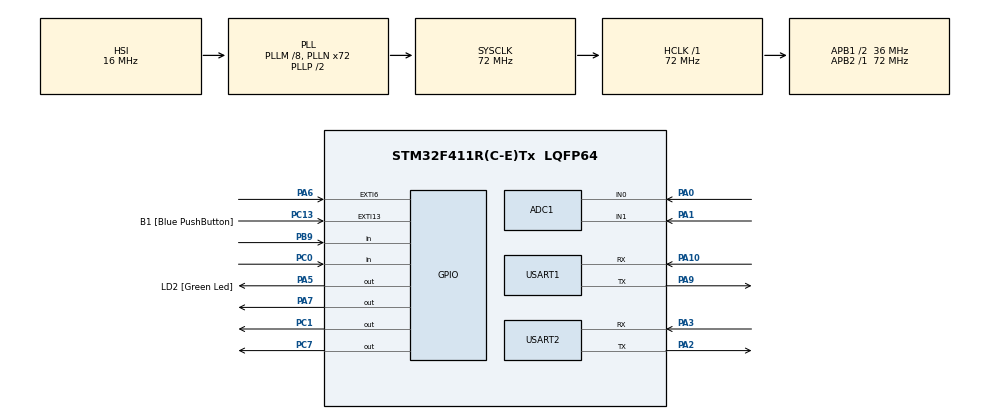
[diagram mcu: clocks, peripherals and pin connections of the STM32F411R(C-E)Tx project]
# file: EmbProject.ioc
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ADC1.Channel-3\#ChannelRegularConversion=ADC_CHANNEL_0
ADC1.Channel-4\#ChannelRegularConversion=ADC_CHANNEL_1
ADC1.ClockPrescaler=ADC_CLOCK_SYNC_PCLK_DIV4
ADC1.ContinuousConvMode=ENABLE
ADC1.DMAContinuousRequests=DISABLE
ADC1.NbrOfConversion=2
ADC1.NbrOfConversionFlag=1
ADC1.Rank-3\#ChannelRegularConversion=1
ADC1.Rank-4\#ChannelRegularConversion=2
ADC1.SamplingTime-3\#ChannelRegularConversion=ADC_SAMPLETIME_3CYCLES
ADC1.SamplingTime-4\#ChannelRegularConversion=ADC_SAMPLETIME_3CYCLES
ADC1.master=1
Mcu.Family=STM32F4
Mcu.Name=STM32F411R(C-E)Tx
Mcu.Package=LQFP64
NVIC.PriorityGroup=NVIC_PRIORITYGROUP_0
NVIC.TIM1_CC_IRQn=true\:0\:0\:false\:false\:true\:true\:true\:true
NVIC.USART1_IRQn=true\:0\:0\:false\:false\:true\:true\:true\:true
PA0-WKUP.Signal=ADCx_IN0
PA1.Signal=ADCx_IN1
PA10.Mode=Asynchronous
PA10.Signal=USART1_RX
PA13.GPIO_Label=TMS
PA13.Mode=Serial_Wire
PA13.Signal=SYS_JTMS-SWDIO
PA14.GPIO_Label=TCK
PA14.Mode=Serial_Wire
PA14.Signal=SYS_JTCK-SWCLK
PA2.Mode=Asynchronous
PA2.Signal=USART2_TX
PA3.Mode=Asynchronous
PA3.Signal=USART2_RX
PA5.GPIO_Label=LD2 [Green Led]
PA5.Signal=GPIO_Output
PA6.Signal=GPXTI6
PA7.Signal=GPIO_Output
PA9.Mode=Asynchronous
PA9.Signal=USART1_TX
PB3.GPIO_Label=SWO
PB3.Signal=SYS_JTDO-SWO
PB9.Signal=GPIO_Input
PC0.Signal=GPIO_Input
PC1.Signal=GPIO_Output
PC13-ANTI_TAMP.GPIO_Label=B1 [Blue PushButton]
PC13-ANTI_TAMP.GPIO_ModeDefaultEXTI=GPIO_MODE_IT_FALLING
PC13-ANTI_TAMP.Signal=GPXTI13
PC14-OSC32_IN.Mode=LSE-External-Oscillator
PC14-OSC32_IN.Signal=RCC_OSC32_IN
PC15-OSC32_OUT.Mode=LSE-External-Oscillator
PC15-OSC32_OUT.Signal=RCC_OSC32_OUT
PC7.Signal=GPIO_Output
PH0\ -\ OSC_IN.Mode=HSE-External-Oscillator
PH0\ -\ OSC_IN.Signal=RCC_OSC_IN
PH1\ -\ OSC_OUT.Mode=HSE-External-Oscillator
PH1\ -\ OSC_OUT.Signal=RCC_OSC_OUT
ProjectManager.HeapSize=0x200
ProjectManager.StackSize=0x400
ProjectManager.TargetToolchain=STM32CubeIDE
RCC.48MHZClocksFreq_Value=36000000
RCC.AHBFreq_Value=72000000
RCC.APB1CLKDivider=RCC_HCLK_DIV2
RCC.APB1Freq_Value=36000000
RCC.APB1TimFreq_Value=72000000
RCC.APB2Freq_Value=72000000
RCC.APB2TimFreq_Value=72000000
RCC.CortexFreq_Value=72000000
RCC.FLatency-AdvancedSettings=FLASH_LATENCY_2
RCC.HCLKFreq_Value=72000000
RCC.HSE_VALUE=8000000
RCC.HSI_VALUE=16000000
RCC.PLLM=8
RCC.PLLN=72
RCC.SYSCLKFreq_VALUE=72000000
RCC.SYSCLKSource=RCC_SYSCLKSOURCE_PLLCLK
RCC.VCOOutputFreq_Value=144000000
SH.ADCx_IN0.0=ADC1_IN0,IN0
SH.ADCx_IN1.0=ADC1_IN1,IN1
TIM1.Period=65535
TIM1.Prescaler=71
USART1.VirtualMode=VM_ASYNC
USART2.VirtualMode=VM_ASYNC
VP_TIM1_VS_ClockSourceINT.Mode=Internal
board=NUCLEO-F411RE

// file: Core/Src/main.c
/* USER CODE BEGIN Header */
/**
  ******************************************************************************
  * @file           : main.c
  * @brief          : Main program body
  ******************************************************************************
  * @attention
  *
  * Copyright (c) 2024 STMicroelectronics.
  * All rights reserved.
  *
  * This software is licensed under terms that can be found in the LICENSE file
  * in the root directory of this software component.
  * If no LICENSE file comes with this software, it is provided AS-IS.
  *
  ******************************************************************************
  */
/* USER CODE END Header */
#include "main.h"

ADC_HandleTypeDef hadc1;

TIM_HandleTypeDef htim1;

UART_HandleTypeDef huart1;
UART_HandleTypeDef huart2;

/* USER CODE BEGIN PV */
int HEARTBEAT = 50;

uint16_t ADC_VAL[2];

// HC-SRO4
#define TRIG_PIN GPIO_PIN_1
#define TRIG_PORT GPIOC
#define ECHO_PIN GPIO_PIN_0
#define ECHO_PORT GPIOC
uint32_t pMillis;
uint32_t Value1 = 0;
uint32_t Value2 = 0;
uint16_t Distance  = 0;  // cm
int DISTANCE_THRESHOLD = 100; // cm

// Sound Sensor
int SOUND_THRESHOLD = 2110;
int COOLDOWN = 5; // 5 sec
int curr_cooldown = 0;

// LDR
int LDR_THRESHOLD = 125;

// UART
char buffer[50];
int Status = 0;

/* USER CODE END PV */

void SystemClock_Config(void);
static void MX_GPIO_Init(void);
static void MX_ADC1_Init(void);
static void MX_USART2_UART_Init(void);
static void MX_TIM1_Init(void);
static void MX_USART1_UART_Init(void);

/* USER CODE BEGIN 0 */

int Read_Distance(){
	HAL_GPIO_WritePin(TRIG_PORT, TRIG_PIN, GPIO_PIN_SET);  // pull the TRIG pin HIGH
	 __HAL_TIM_SET_COUNTER(&htim1, 0);
	 while (__HAL_TIM_GET_COUNTER (&htim1) < 10);  // wait for 10 us
	 HAL_GPIO_WritePin(TRIG_PORT, TRIG_PIN, GPIO_PIN_RESET);  // pull the TRIG pin low

	 pMillis = HAL_GetTick(); // used this to avoid infinite while loop  (for timeout)
	 // wait for the echo pin to go high
	 while (!(HAL_GPIO_ReadPin (ECHO_PORT, ECHO_PIN)) && pMillis + 10 >  HAL_GetTick());
	 Value1 = __HAL_TIM_GET_COUNTER (&htim1);

	 pMillis = HAL_GetTick(); // used this to avoid infinite while loop (for timeout)
	 // wait for the echo pin to go low
	 while ((HAL_GPIO_ReadPin (ECHO_PORT, ECHO_PIN)) && pMillis + 50 > HAL_GetTick());
	 Value2 = __HAL_TIM_GET_COUNTER (&htim1);

	 Distance = (int)(((float)(Value2-Value1)) * 0.034 / 2);
	 return Distance;
//	 sprintf(buffer, "%d\r\n", Distance);
//	 HAL_UART_Transmit(&huart2, buffer, strlen(buffer), HAL_MAX_DELAY);
}

void ADC_Select_CH0 (void)
{
	ADC_ChannelConfTypeDef sConfig = {0};
	  /** Configure for the selected ADC regular channel its corresponding rank in the sequencer and its sample time.
	  */
	  sConfig.Channel = ADC_CHANNEL_0;
	  sConfig.Rank = 1;
	  sConfig.SamplingTime = ADC_SAMPLETIME_28CYCLES;
	  if (HAL_ADC_ConfigChannel(&hadc1, &sConfig) != HAL_OK)
	  {
	    Error_Handler();
	  }
}

void ADC_Select_CH1 (void)
{
	ADC_ChannelConfTypeDef sConfig = {0};
	  /** Configure for the selected ADC regular channel its corresponding rank in the sequencer and its sample time.
	  */
	  sConfig.Channel = ADC_CHANNEL_1;
	  sConfig.Rank = 1;
	  sConfig.SamplingTime = ADC_SAMPLETIME_84CYCLES;
	  if (HAL_ADC_ConfigChannel(&hadc1, &sConfig) != HAL_OK)
	  {
	    Error_Handler();
	  }
}

/* USER CODE END 0 */

int main(void)
{

  /* MCU Configuration--------------------------------------------------------*/

  /* Reset of all peripherals, Initializes the Flash interface and the Systick. */
  HAL_Init();

  /* Configure the system clock */
  SystemClock_Config();

  /* Initialize all configured peripherals */
  MX_GPIO_Init();
  MX_ADC1_Init();
  MX_USART2_UART_Init();
  MX_TIM1_Init();
  MX_USART1_UART_Init();
  /* USER CODE BEGIN 2 */

  // For HC-SRO4
  HAL_TIM_Base_Start(&htim1);
  HAL_GPIO_WritePin(TRIG_PORT, TRIG_PIN, GPIO_PIN_RESET);  // pull the TRIG pin low

  /* USER CODE END 2 */

  /* Infinite loop */
  while (1)
  {

    /* USER CODE BEGIN 3 */

	  // LED Logic
	 HAL_GPIO_TogglePin(GPIOA, GPIO_PIN_5); // Debug

	 if (HAL_UART_Receive(&huart1, buffer, strlen(buffer), 1000) == HAL_OK) {
		 //HAL_UART_Transmit(&huart2, buffer, strlen(buffer), HAL_MAX_DELAY);
	 }

	 if(buffer[0] == '0'){
		 HAL_GPIO_WritePin(GPIOC, GPIO_PIN_7, GPIO_PIN_RESET);
		 Status = 0;
	 }else if(buffer[0] == '1'){
		 HAL_GPIO_WritePin(GPIOC, GPIO_PIN_7, GPIO_PIN_SET);
		 Status = 1;
	 }else if(buffer[0] == '2'){
		 if(curr_cooldown <= 0){
			 HAL_GPIO_WritePin(GPIOC, GPIO_PIN_7, GPIO_PIN_RESET);
			 Status = 0;
		 }else{
			 //Debug
			 if(curr_cooldown % 1000 == 0){
				 sprintf(buffer, "Close LED in %d\r\n", curr_cooldown / 1000);
				 HAL_UART_Transmit(&huart2, buffer, strlen(buffer), HAL_MAX_DELAY);
			 }

			 curr_cooldown = (curr_cooldown - HEARTBEAT) <= 0 ? 0 : curr_cooldown - HEARTBEAT;
			 HAL_GPIO_WritePin(GPIOC, GPIO_PIN_7, GPIO_PIN_SET);
			 Status = 1;
		 }
	 }

	 // READ LDR
	 ADC_Select_CH0();
	  HAL_ADC_Start(&hadc1);
	  HAL_ADC_PollForConversion(&hadc1, 1000);
	  ADC_VAL[0] = HAL_ADC_GetValue(&hadc1);
	  HAL_ADC_Stop(&hadc1);

	  // READ SOUND
	  ADC_Select_CH1();
	  HAL_ADC_Start(&hadc1);
	  HAL_ADC_PollForConversion(&hadc1, 1000);
	  ADC_VAL[1] = HAL_ADC_GetValue(&hadc1);
	  HAL_ADC_Stop(&hadc1);

//	 sprintf(buffer, "%d %d\r\n", ADC_VAL[0], ADC_VAL[1]);
//	 HAL_UART_Transmit(&huart2, buffer, strlen(buffer), HAL_MAX_DELAY);

	  int adc_ldr = ADC_VAL[0];
	  int adc_sound = ADC_VAL[1];
	  int distance = Read_Distance();

	 // LDR logic
	 if(adc_ldr <= LDR_THRESHOLD){
		 // Sound Sensor logic
		 if(adc_sound >= SOUND_THRESHOLD){
			 sprintf(buffer, "Sound Trigger ADC Value: %lu\r\n", adc_sound); // debug
			 HAL_UART_Transmit(&huart2, buffer, strlen(buffer), HAL_MAX_DELAY);

			 curr_cooldown = COOLDOWN * 1000; // set cooldown
		 }

		 //HC-SRO4 logic
		 if(distance <= DISTANCE_THRESHOLD){
			 // Debugging
			 if(curr_cooldown == 0){
				sprintf(buffer, "Distance Trigger Value: %d\r\n", distance); // debug
				HAL_UART_Transmit(&huart2, buffer, strlen(buffer), HAL_MAX_DELAY);
			 }

			 curr_cooldown = COOLDOWN * 1000; // set cooldown
		 }

//		 // Debugging
//		 if(curr_cooldown == 0){
//			sprintf(buffer, "LDR Trigger ADC Value: %lu\r\n", adc_ldr); // debug
//			HAL_UART_Transmit(&huart2, buffer, strlen(buffer), HAL_MAX_DELAY);
//		 }
//
//	 	 curr_cooldown = COOLDOWN * 1000; // set cooldown
	 }

	 sprintf(buffer, "%d,%d,%d,%d\r\n", adc_ldr, adc_sound, distance, Status);
	 //HAL_UART_Transmit(&huart2, buffer, strlen(buffer), 1000);
	 HAL_UART_Transmit(&huart1, buffer, strlen(buffer), 1000);

	 HAL_Delay(HEARTBEAT);
  }
  /* USER CODE END 3 */
}

void SystemClock_Config(void)
{
  RCC_OscInitTypeDef RCC_OscInitStruct = {0};
  RCC_ClkInitTypeDef RCC_ClkInitStruct = {0};

  /** Configure the main internal regulator output voltage
  */
  __HAL_RCC_PWR_CLK_ENABLE();
  __HAL_PWR_VOLTAGESCALING_CONFIG(PWR_REGULATOR_VOLTAGE_SCALE1);

  /** Initializes the RCC Oscillators according to the specified parameters
  * in the RCC_OscInitTypeDef structure.
  */
  RCC_OscInitStruct.OscillatorType = RCC_OSCILLATORTYPE_HSI;
  RCC_OscInitStruct.HSIState = RCC_HSI_ON;
  RCC_OscInitStruct.HSICalibrationValue = RCC_HSICALIBRATION_DEFAULT;
  RCC_OscInitStruct.PLL.PLLState = RCC_PLL_ON;
  RCC_OscInitStruct.PLL.PLLSource = RCC_PLLSOURCE_HSI;
  RCC_OscInitStruct.PLL.PLLM = 8;
  RCC_OscInitStruct.PLL.PLLN = 72;
  RCC_OscInitStruct.PLL.PLLP = RCC_PLLP_DIV2;
  RCC_OscInitStruct.PLL.PLLQ = 4;
  if (HAL_RCC_OscConfig(&RCC_OscInitStruct) != HAL_OK)
  {
    Error_Handler();
  }

  /** Initializes the CPU, AHB and APB buses clocks
  */
  RCC_ClkInitStruct.ClockType = RCC_CLOCKTYPE_HCLK|RCC_CLOCKTYPE_SYSCLK
                              |RCC_CLOCKTYPE_PCLK1|RCC_CLOCKTYPE_PCLK2;
  RCC_ClkInitStruct.SYSCLKSource = RCC_SYSCLKSOURCE_PLLCLK;
  RCC_ClkInitStruct.AHBCLKDivider = RCC_SYSCLK_DIV1;
  RCC_ClkInitStruct.APB1CLKDivider = RCC_HCLK_DIV2;
  RCC_ClkInitStruct.APB2CLKDivider = RCC_HCLK_DIV1;

  if (HAL_RCC_ClockConfig(&RCC_ClkInitStruct, FLASH_LATENCY_2) != HAL_OK)
  {
    Error_Handler();
  }
}

static void MX_ADC1_Init(void)
{

  ADC_ChannelConfTypeDef sConfig = {0};

  /** Configure the global features of the ADC (Clock, Resolution, Data Alignment and number of conversion)
  */
  hadc1.Instance = ADC1;
  hadc1.Init.ClockPrescaler = ADC_CLOCK_SYNC_PCLK_DIV4;
  hadc1.Init.Resolution = ADC_RESOLUTION_12B;
  hadc1.Init.ScanConvMode = ENABLE;
  hadc1.Init.ContinuousConvMode = ENABLE;
  hadc1.Init.DiscontinuousConvMode = DISABLE;
  hadc1.Init.ExternalTrigConvEdge = ADC_EXTERNALTRIGCONVEDGE_NONE;
  hadc1.Init.ExternalTrigConv = ADC_SOFTWARE_START;
  hadc1.Init.DataAlign = ADC_DATAALIGN_RIGHT;
  hadc1.Init.NbrOfConversion = 2;
  hadc1.Init.DMAContinuousRequests = DISABLE;
  hadc1.Init.EOCSelection = ADC_EOC_SINGLE_CONV;
  if (HAL_ADC_Init(&hadc1) != HAL_OK)
  {
    Error_Handler();
  }

  /** Configure for the selected ADC regular channel its corresponding rank in the sequencer and its sample time.
  */
  sConfig.Channel = ADC_CHANNEL_0;
  sConfig.Rank = 1;
  sConfig.SamplingTime = ADC_SAMPLETIME_3CYCLES;
  if (HAL_ADC_ConfigChannel(&hadc1, &sConfig) != HAL_OK)
  {
    Error_Handler();
  }

  /** Configure for the selected ADC regular channel its corresponding rank in the sequencer and its sample time.
  */
  sConfig.Channel = ADC_CHANNEL_1;
  sConfig.Rank = 2;
  if (HAL_ADC_ConfigChannel(&hadc1, &sConfig) != HAL_OK)
  {
    Error_Handler();
  }

}

static void MX_TIM1_Init(void)
{

  TIM_ClockConfigTypeDef sClockSourceConfig = {0};
  TIM_MasterConfigTypeDef sMasterConfig = {0};

  htim1.Instance = TIM1;
  htim1.Init.Prescaler = 71;
  htim1.Init.CounterMode = TIM_COUNTERMODE_UP;
  htim1.Init.Period = 65535;
  htim1.Init.ClockDivision = TIM_CLOCKDIVISION_DIV1;
  htim1.Init.RepetitionCounter = 0;
  htim1.Init.AutoReloadPreload = TIM_AUTORELOAD_PRELOAD_DISABLE;
  if (HAL_TIM_Base_Init(&htim1) != HAL_OK)
  {
    Error_Handler();
  }
  sClockSourceConfig.ClockSource = TIM_CLOCKSOURCE_INTERNAL;
  if (HAL_TIM_ConfigClockSource(&htim1, &sClockSourceConfig) != HAL_OK)
  {
    Error_Handler();
  }
  sMasterConfig.MasterOutputTrigger = TIM_TRGO_RESET;
  sMasterConfig.MasterSlaveMode = TIM_MASTERSLAVEMODE_DISABLE;
  if (HAL_TIMEx_MasterConfigSynchronization(&htim1, &sMasterConfig) != HAL_OK)
  {
    Error_Handler();
  }

}

static void MX_USART1_UART_Init(void)
{

  huart1.Instance = USART1;
  huart1.Init.BaudRate = 115200;
  huart1.Init.WordLength = UART_WORDLENGTH_8B;
  huart1.Init.StopBits = UART_STOPBITS_1;
  huart1.Init.Parity = UART_PARITY_NONE;
  huart1.Init.Mode = UART_MODE_TX_RX;
  huart1.Init.HwFlowCtl = UART_HWCONTROL_NONE;
  huart1.Init.OverSampling = UART_OVERSAMPLING_16;
  if (HAL_UART_Init(&huart1) != HAL_OK)
  {
    Error_Handler();
  }

}

static void MX_USART2_UART_Init(void)
{

  huart2.Instance = USART2;
  huart2.Init.BaudRate = 115200;
  huart2.Init.WordLength = UART_WORDLENGTH_8B;
  huart2.Init.StopBits = UART_STOPBITS_1;
  huart2.Init.Parity = UART_PARITY_NONE;
  huart2.Init.Mode = UART_MODE_TX_RX;
  huart2.Init.HwFlowCtl = UART_HWCONTROL_NONE;
  huart2.Init.OverSampling = UART_OVERSAMPLING_16;
  if (HAL_UART_Init(&huart2) != HAL_OK)
  {
    Error_Handler();
  }

}

static void MX_GPIO_Init(void)
{
  GPIO_InitTypeDef GPIO_InitStruct = {0};

  /* GPIO Ports Clock Enable */
  __HAL_RCC_GPIOC_CLK_ENABLE();
  __HAL_RCC_GPIOH_CLK_ENABLE();
  __HAL_RCC_GPIOA_CLK_ENABLE();
  __HAL_RCC_GPIOB_CLK_ENABLE();

  /*Configure GPIO pin Output Level */
  HAL_GPIO_WritePin(GPIOC, GPIO_PIN_1|GPIO_PIN_7, GPIO_PIN_RESET);

  /*Configure GPIO pin Output Level */
  HAL_GPIO_WritePin(GPIOA, LD2_Pin|GPIO_PIN_7, GPIO_PIN_RESET);

  /*Configure GPIO pin : B1_Pin */
  GPIO_InitStruct.Pin = B1_Pin;
  GPIO_InitStruct.Mode = GPIO_MODE_IT_FALLING;
  GPIO_InitStruct.Pull = GPIO_NOPULL;
  HAL_GPIO_Init(B1_GPIO_Port, &GPIO_InitStruct);

  /*Configure GPIO pin : PC0 */
  GPIO_InitStruct.Pin = GPIO_PIN_0;
  GPIO_InitStruct.Mode = GPIO_MODE_INPUT;
  GPIO_InitStruct.Pull = GPIO_NOPULL;
  HAL_GPIO_Init(GPIOC, &GPIO_InitStruct);

  /*Configure GPIO pins : PC1 PC7 */
  GPIO_InitStruct.Pin = GPIO_PIN_1|GPIO_PIN_7;
  GPIO_InitStruct.Mode = GPIO_MODE_OUTPUT_PP;
  GPIO_InitStruct.Pull = GPIO_NOPULL;
  GPIO_InitStruct.Speed = GPIO_SPEED_FREQ_LOW;
  HAL_GPIO_Init(GPIOC, &GPIO_InitStruct);

  /*Configure GPIO pins : LD2_Pin PA7 */
  GPIO_InitStruct.Pin = LD2_Pin|GPIO_PIN_7;
  GPIO_InitStruct.Mode = GPIO_MODE_OUTPUT_PP;
  GPIO_InitStruct.Pull = GPIO_NOPULL;
  GPIO_InitStruct.Speed = GPIO_SPEED_FREQ_LOW;
  HAL_GPIO_Init(GPIOA, &GPIO_InitStruct);

  /*Configure GPIO pin : PA6 */
  GPIO_InitStruct.Pin = GPIO_PIN_6;
  GPIO_InitStruct.Mode = GPIO_MODE_IT_RISING;
  GPIO_InitStruct.Pull = GPIO_NOPULL;
  HAL_GPIO_Init(GPIOA, &GPIO_InitStruct);

  /*Configure GPIO pin : PB9 */
  GPIO_InitStruct.Pin = GPIO_PIN_9;
  GPIO_InitStruct.Mode = GPIO_MODE_INPUT;
  GPIO_InitStruct.Pull = GPIO_NOPULL;
  HAL_GPIO_Init(GPIOB, &GPIO_InitStruct);

}

void Error_Handler(void)
{
  __disable_irq();
  while (1)
  {
  }
}
